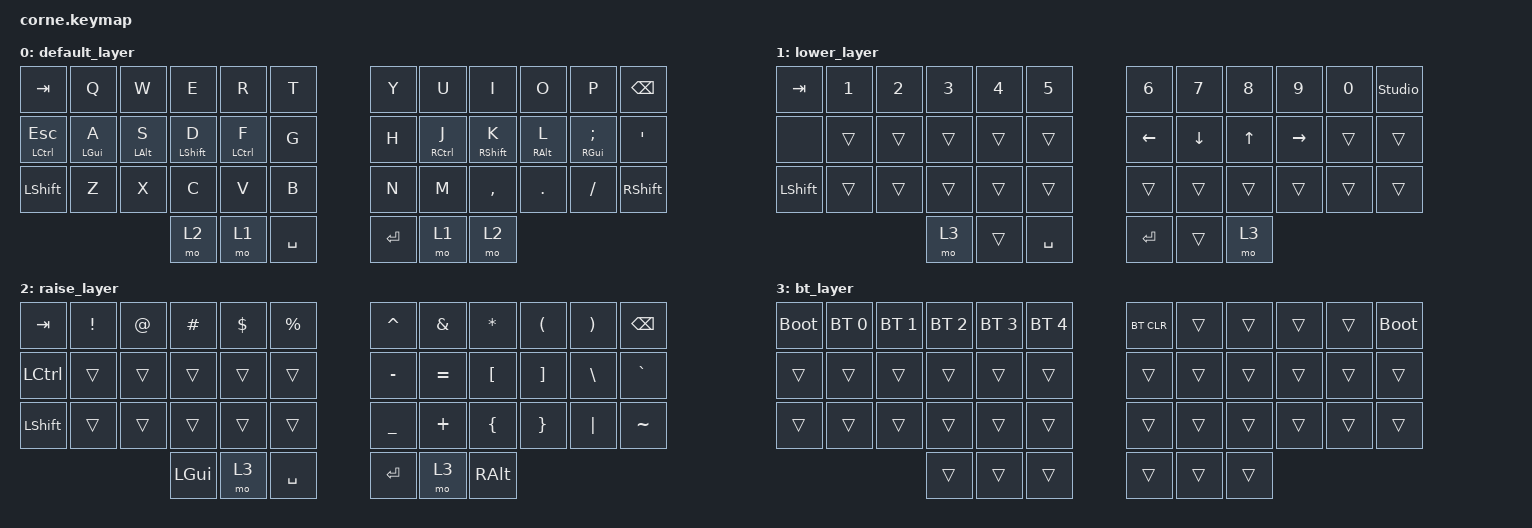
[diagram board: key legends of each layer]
/*
 * Copyright (c) 2020 The ZMK Contributors
 *
 * SPDX-License-Identifier: MIT
 */

#include <behaviors.dtsi>
#include <dt-bindings/zmk/bt.h>
#include <dt-bindings/zmk/keys.h>

/ {
    behaviors {
        hml: home_row_mod_left {
            compatible = "zmk,behavior-hold-tap";
            #binding-cells = <2>;
            flavor = "balanced";
            require-prior-idle-ms = <150>;
            tapping-term-ms = <280>;
            quick-tap-ms = <175>;
            bindings = <&kp>, <&kp>;
            hold-trigger-key-positions = <H>,<J>,<K>,<L>; // List of keys on the right side of the keyboard
            hold-trigger-on-release;
        };
        hmr: home_row_mod_right {
            compatible = "zmk,behavior-hold-tap";
            #binding-cells = <2>;
            flavor = "balanced";
            require-prior-idle-ms = <150>;
            tapping-term-ms = <280>;
            quick-tap-ms = <175>;
            bindings = <&kp>, <&kp>;
            hold-trigger-key-positions = <A>, <S>, <D>, <F>; // List of keys on the left side of the keyboard
            hold-trigger-on-release;
        };
    };

    keymap {
        compatible = "zmk,keymap";

        default_layer {
            // -----------------------------------------------------------------------------------------
            // |  TAB |  Q  |  W  |  E  |  R  |  T  |   |  Y  |  U   |  I  |  O  |  P  | BSPC |
            // | CTRL |  A  |  S  |  D  |  F  |  G  |   |  H  |  J   |  K  |  L  |  ;  |  '   |
            // | SHFT |  Z  |  X  |  C  |  V  |  B  |   |  N  |  M   |  ,  |  .  |  /  | ESC  |
            //                    | GUI | LWR | SPC |   | ENT | RSE  | ALT |

            bindings = <
&kp TAB        &kp Q  &kp W  &kp E     &kp R     &kp T        &kp Y    &kp U  &kp I      &kp O    &kp P     &kp BSPC
&mt LCTRL ESC  &hml LGUI A  &hml LALT S  &hml LSHFT D     &hml LCTRL F     &kp G        &kp H    &hmr RCTRL J  &hmr RSHFT K      &hmr RALT L    &hmr RGUI SEMI  &kp SQT
&kp LSHFT      &kp Z  &kp X  &kp C     &kp V     &kp B        &kp N    &kp M  &kp COMMA  &kp DOT  &kp FSLH  &kp RSHFT
                         &mo 2 &mo 1  &kp SPACE    &kp RET  &mo 1  &mo 2
            >;
        };

        lower_layer {
            // -----------------------------------------------------------------------------------------
            // |  TAB |  1  |  2  |  3  |  4  |  5  |   |  6  |  7  |  8  |  9  |  0  | BSPC |
            // | BTCLR| BT1 | BT2 | BT3 | BT4 | BT5 |   | LFT | DWN |  UP | RGT |     |      |
            // | SHFT |     |     |     |     |     |   |     |     |     |     |     |      |
            //                    | GUI |     | SPC |   | ENT |     | ALT |

            bindings = <
&kp TAB    &kp N1        &kp N2        &kp N3        &kp N4        &kp N5          &kp N6    &kp N7    &kp N8  &kp N9     &kp N0  &studio_unlock
&none      &trans  &trans  &trans  &trans  &trans &kp LEFT  &kp DOWN  &kp UP  &kp RIGHT  &trans  &trans
&kp LSHFT  &trans        &trans        &trans        &trans        &trans          &trans    &trans    &trans  &trans     &trans  &trans
                                       &mo 3      &trans        &kp SPACE       &kp RET   &trans    &mo 3
            >;
        };

        raise_layer {
            // -----------------------------------------------------------------------------------------
            // |  TAB |  !  |  @  |  #  |  $  |  %  |   |  ^  |  &  |  *  |  (  |  )  | BSPC |
            // | CTRL |     |     |     |     |     |   |  -  |  =  |  [  |  ]  |  \  |  `   |
            // | SHFT |     |     |     |     |     |   |  _  |  +  |  {  |  }  | "|" |  ~   |
            //                    | GUI |     | SPC |   | ENT |     | ALT |

            bindings = <
&kp TAB    &kp EXCL  &kp AT  &kp HASH  &kp DLLR  &kp PRCNT    &kp CARET  &kp AMPS   &kp ASTRK  &kp LPAR  &kp RPAR  &kp BSPC
&kp LCTRL  &trans    &trans  &trans    &trans    &trans       &kp MINUS  &kp EQUAL  &kp LBKT   &kp RBKT  &kp BSLH  &kp GRAVE
&kp LSHFT  &trans    &trans  &trans    &trans    &trans       &kp UNDER  &kp PLUS   &kp LBRC   &kp RBRC  &kp PIPE  &kp TILDE
                             &kp LGUI  &mo 3    &kp SPACE    &kp RET    &mo 3      &kp RALT
            >;
        };

        bt_layer {
            bindings = <
&bootloader  &bt BT_SEL 0  &bt BT_SEL 1  &bt BT_SEL 2  &bt BT_SEL 3  &bt BT_SEL 4    &bt BT_CLR  &trans  &trans  &trans  &trans  &bootloader
&trans  &trans  &trans  &trans  &trans  &trans    &trans      &trans  &trans  &trans  &trans  &trans
&trans  &trans  &trans  &trans  &trans  &trans    &trans      &trans  &trans  &trans  &trans  &trans
                        &trans  &trans  &trans    &trans      &trans  &trans
            >;
        };
    };
};

&nice_view_spi { cs-gpios = <&pro_micro 0 GPIO_ACTIVE_HIGH>; };
